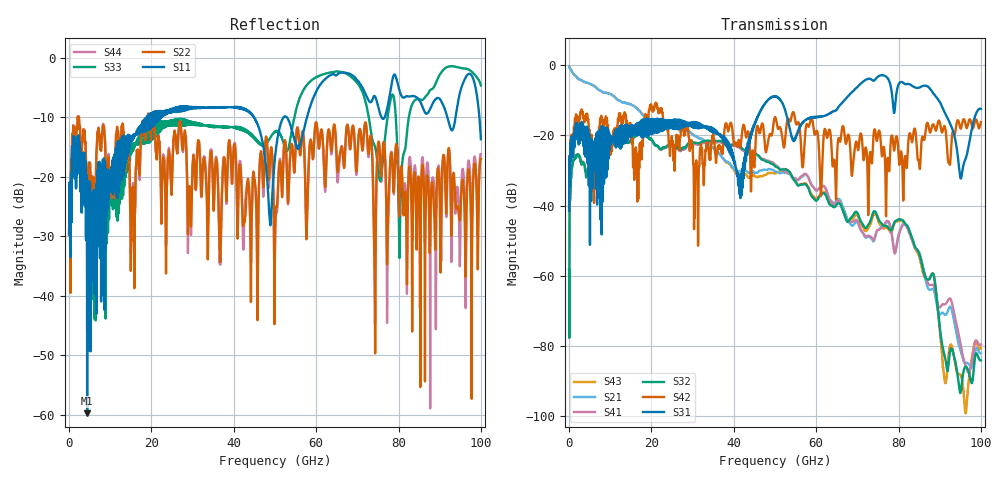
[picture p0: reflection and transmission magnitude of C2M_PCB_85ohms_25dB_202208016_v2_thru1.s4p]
! Info: Touchstone file created by Circ.  Input file=Intel_C2M_200G_10p5in_202208016_staggered.circ
# Hz S RI R 50
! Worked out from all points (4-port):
!   10000 points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, 10 MHz to 100 GHz, reference 50 ohm
!   strongest paths, dB at 10 MHz, 25.01 GHz, 50.01 GHz, 75.01 GHz, 100 GHz:
!     S31: -41.5, -17.6, -8.9, -3.3, -12.5
!     S42: -41.5, -21.9, -14.8, -19.8, -16.3
!     S32: -58.2, -22.8, -28.8, -43.5, -84.1
!     S41: -58.2, -23.1, -28.3, -46.9, -79.6
!     S21: -0.3, -17.4, -30.3, -47.0, -82.1
!     S43: -0.3, -17.3, -30.9, -44.1, -80.7
!   lowest |S11| = -59.7 dB at 4.39 GHz (marker M1), VSWR 1.00, Z = 50.1 - j0.0346 ohm
!   |S11| at or under -10 dB: start of sweep to 18.83 GHz; 44.83 GHz to 52.13 GHz (7.298 GHz wide, 15.1 % of centre); 52.9 GHz to 57.74 GHz (4.846 GHz wide, 8.76 % of centre)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
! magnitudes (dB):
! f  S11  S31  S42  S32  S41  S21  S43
! 10 MHz  -29.6  -41.5  -41.5  -58.2  -58.2  -0.3  -0.3
! 4.39 GHz  -59.7  -17.6  -13.8  -31.4  -31.0  -5.0  -5.0
! 40.87 GHz  -8.4  -30.9  -23.2  -22.8  -23.2  -30.3  -31.0
! 49.6 GHz  -20.1  -9.0  -17.0  -28.3  -27.8  -29.9  -30.7
! 86.86 GHz  -9.4  -5.9  -16.7  -61.0  -61.4  -62.6  -61.0
! 95.18 GHz  -5.2  -32.3  -18.0  -92.6  -80.3  -81.8  -88.5
! 100 GHz  -13.7  -12.5  -16.3  -84.1  -79.6  -82.1  -80.7
